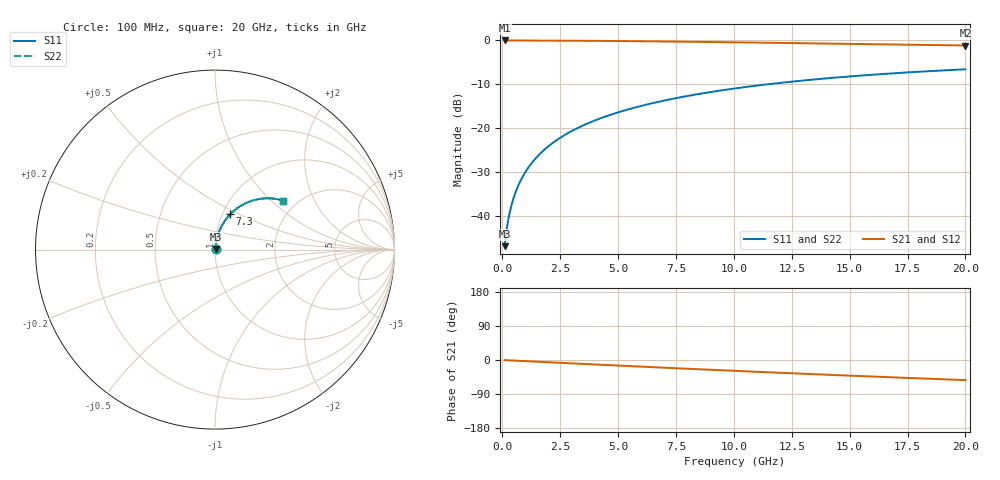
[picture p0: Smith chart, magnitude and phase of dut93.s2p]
! Touchstone file exported from HFSS 2026.1.0
!  File:  C:/ffzhzh/LocalFiles/Ansys_Project_Files/temp_train_TMRDL_93_1782881568_13352.aedt
!  Generated:  12:54:17 PM Jul  1, 2026
!  Design:  TMRDL
!  Project:  temp_train_TMRDL_93_1782881568_13352
! Variables:
!  h_bsmrdl = 2um
!  h_ox = 20um
!  h_rdl = 5um
!  h_sub = 80um
!  h_tmrdl = 4.09um
!  h_tsv = 80um
!  h_via = 3um
!  l_bsmrdl = 300um
!  l_sub = 1198.2um
!  l_tmrdl = 798.2um
!  m_sub = 200um
!  pitch = 57.59um
!  r_tsv = 6um
!  s_tmrdl = 10um
!  w_bsmrdl = 18um
!  w_sub = 500um
!  w_tmrdl = 25.02um
!  x_tsv_center1 = 810.71um
!  x_tsv_center2 = 1128.71um
!  x_tsv_center3 = 1951.93um
!  x_tsv_center4 = 2269.93um
!  x_tsv_center5 = 3093.15um
!  x_tsv_center6 = 3411.15um
# GHz S MA R 50.000000
! Terminal data exported
! Port[1] = TM_RDL1_1_T1
! Port[2] = TM_RDL1_1_T2
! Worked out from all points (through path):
!   200 points, 100 MHz to 20 GHz, reference 50 ohm
!   highest |S21| = -0.03 dB at 100 MHz (marker M1); lowest = -1.2 dB at 20 GHz (marker M2)
!   group delay of S21, straight-line fit = 7.37 ps
!   lowest |S11| = -46.9 dB at 100 MHz (marker M3), VSWR 1.01, Z = 50.3 + j0.338 ohm
!   |S11| at or under -10 dB: start of sweep to 11.5 GHz
!   |S22| runs from -46.9 to -6.6 dB; largest |S21 - S12| = 2.6e-15
!   S11 on the Smith chart (normalised r, x): 100 MHz: 1.01, +0.01; 7.3 GHz: 1.09, +0.45; 20 GHz: 1.70, +1.19
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0.1  0.004494 48.4  0.997 -0.3  0.997 -0.3  0.004494 48.4
! Gamma 0 0 0 0
! Port Impedance 50 0 50 0
0.2  0.007335 63.9  0.9968 -0.6  0.9968 -0.6  0.007335 63.9
0.3  0.01031 70.3  0.9966 -0.9  0.9966 -0.9  0.01031 70.3
0.4  0.0133 73.8  0.9965 -1.2  0.9965 -1.2  0.0133 73.8
0.5  0.01631 76.0  0.9963 -1.5  0.9963 -1.5  0.01631 76.0
0.7  0.02238 78.5  0.9961 -2.1  0.9961 -2.1  0.02238 78.5
1  0.03156 80.1  0.9957 -3.0  0.9957 -3.0  0.03156 80.1
1.2  0.0377 80.5  0.9954 -3.6  0.9954 -3.6  0.0377 80.5
1.4  0.04384 80.6  0.9951 -4.2  0.9951 -4.2  0.04384 80.6
1.7  0.05304 80.5  0.9945 -5.1  0.9945 -5.1  0.05304 80.5
2  0.06221 80.1  0.9938 -6.0  0.9938 -6.0  0.06221 80.1
2.7  0.08345 78.7  0.9918 -8.0  0.9918 -8.0  0.08345 78.7
3.5  0.1074 76.8  0.989 -10.4  0.989 -10.4  0.1074 76.8
4.2  0.1279 75.0  0.986 -12.4  0.986 -12.4  0.1279 75.0
5  0.1509 72.9  0.9822 -14.7  0.9822 -14.7  0.1509 72.9
6.8  0.2007 68.0  0.972 -19.8  0.972 -19.8  0.2007 68.0
7.3  0.214 66.7  0.9689 -21.2  0.9689 -21.2  0.214 66.7
8.6  0.2475 63.3  0.9603 -24.7  0.9603 -24.7  0.2475 63.3
10.1  0.2841 59.4  0.9495 -28.8  0.9495 -28.8  0.2841 59.4
13.4  0.3566 51.1  0.9241 -37.3  0.9241 -37.3  0.3566 51.1
16.7  0.4177 43.2  0.8979 -45.4  0.8979 -45.4  0.4177 43.2
20  0.4675 35.7  0.8731 -53.0  0.8731 -53.0  0.4675 35.7
